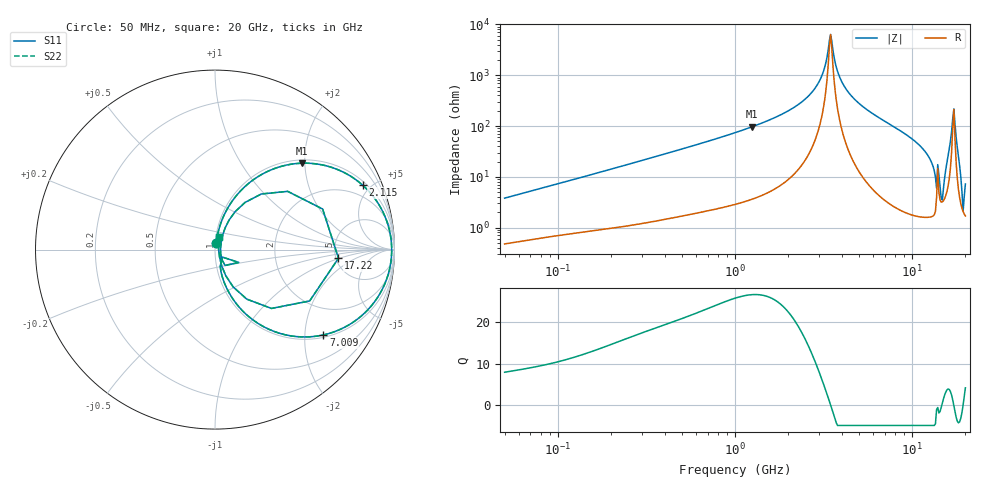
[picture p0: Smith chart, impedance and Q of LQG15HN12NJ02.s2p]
!Murata Part Number: LQG15HN12NJ02
!These Parameters are Measured in Series Mode Connection
!  o--[Z]--o
!Port1  Port2
!  o-------o
!Freq. Start=50[MHz] Stop=20[GHz], 401[Steps]
# Hz S RI R 50
!Freq.(Hz) S11(Real) S11(Imag) S21(Real) S21(Imag) S12(Real) S12(Imag) S22(Real) S22(Imag)
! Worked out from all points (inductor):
!   401 points, 50 MHz to 20 GHz, reference 50 ohm
!   read as one part in series: L = 11.8 nH near 51.52 MHz
!   highest Q = 26.7 at 1.252 GHz (marker M1), where L = 12.3 nH
!   self-resonance near 3.415 GHz
!   S11 on the Smith chart (normalised r, x): 50 MHz: 1.01, +0.08; 2.115 GHz: 1.21, +4.46; 7.009 GHz: 1.07, -2.48; 17.22 GHz: 5.26, -0.96; 20 GHz: 1.03, +0.14
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5e7  0.00613 0.0372  0.9939 -0.0372  0.9939 -0.0372  0.00613 0.0372
1.364002e8  0.0172 0.0951  0.9828 -0.0951  0.9828 -0.0951  0.0172 0.0951
3.721004e8  0.0749 0.2381  0.9251 -0.2381  0.9251 -0.2381  0.0749 0.2381
1e9  0.358 0.4605  0.642 -0.4605  0.642 -0.4605  0.358 0.4605
1.251922e9  0.485 0.4814  0.515 -0.4814  0.515 -0.4814  0.485 0.4814
2.114743e9  0.8218 0.3598  0.1782 -0.3598  0.1782 -0.3598  0.8218 0.3598
2.728004e9  0.9419 0.1966  0.0581 -0.1966  0.0581 -0.1966  0.9419 0.1966
3.121702e9  0.9759 0.089  0.0241 -0.089  0.0241 -0.089  0.9759 0.089
3.466789e9  0.9845 -0.000679  0.0155 0.000679  0.0155 0.000679  0.9845 -0.000679
3.850025e9  0.9761 -0.0922  0.0239 0.0922  0.0239 0.0922  0.9761 -0.0922
4.275624e9  0.9497 -0.1823  0.0503 0.1823  0.0503 0.1823  0.9497 -0.1823
7.009217e9  0.6039 -0.4755  0.3961 0.4755  0.3961 0.4755  0.6039 -0.4755
7.442007e9  0.5439 -0.4848  0.4561 0.4848  0.4561 0.4848  0.5439 -0.4848
1.166392e10  0.1126 -0.2933  0.8874 0.2933  0.8874 0.2933  0.1126 -0.2933
1.276073e10  0.0548 -0.1915  0.9452 0.1915  0.9452 0.1915  0.0548 -0.1915
1.482269e10  0.0311 0.0132  0.9689 -0.0132  0.9689 -0.0132  0.0311 0.0132
1.573793e10  0.0783 0.1642  0.9217 -0.1642  0.9217 -0.1642  0.0783 0.1642
1.646126e10  0.2579 0.3099  0.7421 -0.3099  0.7421 -0.3099  0.2579 0.3099
1.721783e10  0.6879 -0.048  0.3121 0.048  0.3121 0.048  0.6879 -0.048
1.800918e10  0.177 -0.276  0.823 0.276  0.823 0.276  0.177 -0.276
1.912117e10  0.0255 -0.0431  0.9745 0.0431  0.9745 0.0431  0.0255 -0.0431
2e10  0.0214 0.0675  0.9786 -0.0675  0.9786 -0.0675  0.0214 0.0675
